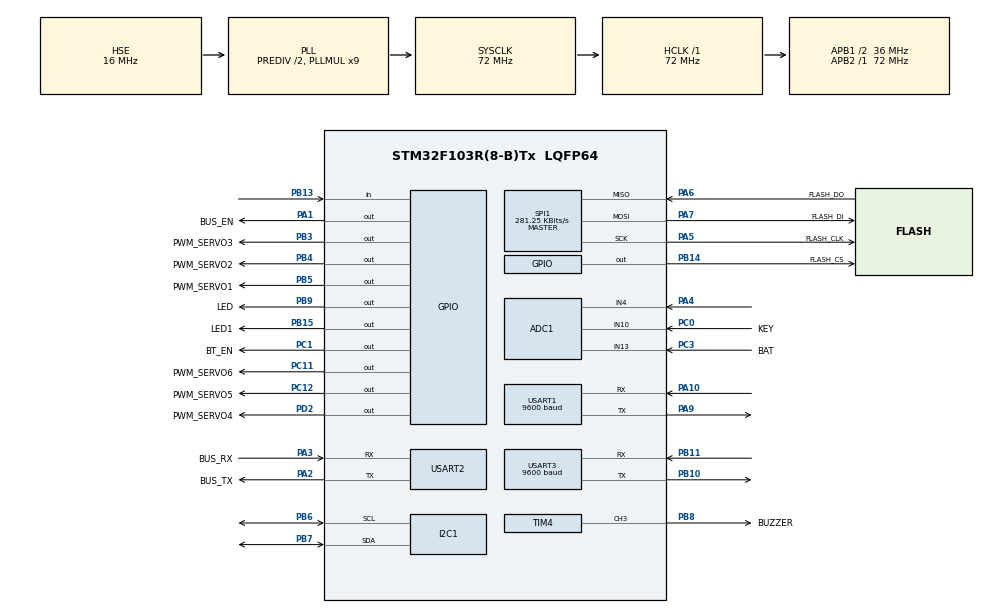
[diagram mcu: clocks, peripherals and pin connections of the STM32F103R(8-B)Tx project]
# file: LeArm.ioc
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ADC1.Channel-0\#ChannelRegularConversion=ADC_CHANNEL_13
ADC1.Channel-1\#ChannelRegularConversion=ADC_CHANNEL_10
ADC1.Channel-2\#ChannelRegularConversion=ADC_CHANNEL_4
ADC1.ContinuousConvMode=DISABLE
ADC1.DataAlign=ADC_DATAALIGN_RIGHT
ADC1.NbrOfConversion=3
ADC1.NbrOfConversionFlag=1
ADC1.Rank-0\#ChannelRegularConversion=1
ADC1.Rank-1\#ChannelRegularConversion=2
ADC1.Rank-2\#ChannelRegularConversion=3
ADC1.SamplingTime-0\#ChannelRegularConversion=ADC_SAMPLETIME_239CYCLES_5
ADC1.SamplingTime-1\#ChannelRegularConversion=ADC_SAMPLETIME_239CYCLES_5
ADC1.SamplingTime-2\#ChannelRegularConversion=ADC_SAMPLETIME_239CYCLES_5
ADC1.master=1
Dma.ADC1.1.Direction=DMA_PERIPH_TO_MEMORY
Dma.ADC1.1.Instance=DMA1_Channel1
Dma.ADC1.1.MemDataAlignment=DMA_MDATAALIGN_HALFWORD
Dma.ADC1.1.MemInc=DMA_MINC_ENABLE
Dma.ADC1.1.Mode=DMA_CIRCULAR
Dma.ADC1.1.PeriphDataAlignment=DMA_PDATAALIGN_HALFWORD
Dma.ADC1.1.PeriphInc=DMA_PINC_DISABLE
Dma.ADC1.1.Priority=DMA_PRIORITY_LOW
Dma.I2C1_RX.2.Direction=DMA_PERIPH_TO_MEMORY
Dma.I2C1_RX.2.Instance=DMA1_Channel7
Dma.I2C1_RX.2.MemDataAlignment=DMA_MDATAALIGN_BYTE
Dma.I2C1_RX.2.MemInc=DMA_MINC_ENABLE
Dma.I2C1_RX.2.Mode=DMA_NORMAL
Dma.I2C1_RX.2.PeriphDataAlignment=DMA_PDATAALIGN_BYTE
Dma.I2C1_RX.2.PeriphInc=DMA_PINC_DISABLE
Dma.I2C1_RX.2.Priority=DMA_PRIORITY_VERY_HIGH
Dma.Request0=USART1_RX
Dma.Request1=ADC1
Dma.Request2=I2C1_RX
Dma.Request3=USART3_RX
Dma.USART1_RX.0.Direction=DMA_PERIPH_TO_MEMORY
Dma.USART1_RX.0.Instance=DMA1_Channel5
Dma.USART1_RX.0.MemDataAlignment=DMA_MDATAALIGN_BYTE
Dma.USART1_RX.0.MemInc=DMA_MINC_ENABLE
Dma.USART1_RX.0.Mode=DMA_NORMAL
Dma.USART1_RX.0.PeriphDataAlignment=DMA_PDATAALIGN_BYTE
Dma.USART1_RX.0.PeriphInc=DMA_PINC_DISABLE
Dma.USART1_RX.0.Priority=DMA_PRIORITY_LOW
Dma.USART3_RX.3.Direction=DMA_PERIPH_TO_MEMORY
Dma.USART3_RX.3.Instance=DMA1_Channel3
Dma.USART3_RX.3.MemDataAlignment=DMA_MDATAALIGN_BYTE
Dma.USART3_RX.3.MemInc=DMA_MINC_ENABLE
Dma.USART3_RX.3.Mode=DMA_NORMAL
Dma.USART3_RX.3.PeriphDataAlignment=DMA_PDATAALIGN_BYTE
Dma.USART3_RX.3.PeriphInc=DMA_PINC_DISABLE
Dma.USART3_RX.3.Priority=DMA_PRIORITY_LOW
I2C1.I2C_Mode=I2C_Standard
Mcu.Family=STM32F1
Mcu.Name=STM32F103R(8-B)Tx
Mcu.Package=LQFP64
NVIC.DMA1_Channel1_IRQn=true\:0\:0\:false\:false\:true\:false\:true\:true
NVIC.DMA1_Channel3_IRQn=true\:0\:0\:false\:false\:true\:false\:true\:true
NVIC.DMA1_Channel5_IRQn=true\:0\:0\:false\:false\:true\:false\:true\:true
NVIC.DMA1_Channel7_IRQn=true\:0\:0\:false\:true\:true\:4\:false\:true\:true
NVIC.I2C1_EV_IRQn=true\:0\:0\:false\:true\:true\:5\:true\:true\:true
NVIC.PriorityGroup=NVIC_PRIORITYGROUP_4
NVIC.TIM3_IRQn=true\:0\:0\:true\:false\:true\:true\:false\:true
NVIC.USART1_IRQn=true\:3\:0\:true\:true\:true\:1\:true\:true\:true
NVIC.USART2_IRQn=true\:2\:0\:true\:true\:true\:2\:true\:false\:true
NVIC.USART3_IRQn=true\:1\:0\:true\:true\:true\:3\:true\:true\:true
PA1.GPIO_Label=BUS_EN
PA1.GPIO_Speed=GPIO_SPEED_FREQ_HIGH
PA1.PinState=GPIO_PIN_SET
PA1.Signal=GPIO_Output
PA10.Mode=Asynchronous
PA10.Signal=USART1_RX
PA13.Mode=Serial_Wire
PA13.Signal=SYS_JTMS-SWDIO
PA14.Mode=Serial_Wire
PA14.Signal=SYS_JTCK-SWCLK
PA2.GPIO_Label=BUS_TX
PA2.Mode=Asynchronous
PA2.Signal=USART2_TX
PA3.GPIO_Label=BUS_RX
PA3.Mode=Asynchronous
PA3.Signal=USART2_RX
PA4.Signal=ADCx_IN4
PA5.GPIO_Label=FLASH_CLK
PA5.GPIO_Speed=GPIO_SPEED_FREQ_HIGH
PA5.Mode=Full_Duplex_Master
PA5.Signal=SPI1_SCK
PA6.GPIO_Label=FLASH_DO
PA6.GPIO_PuPd=GPIO_NOPULL
PA6.Mode=Full_Duplex_Master
PA6.Signal=SPI1_MISO
PA7.GPIO_Label=FLASH_DI
PA7.GPIO_Speed=GPIO_SPEED_FREQ_HIGH
PA7.Mode=Full_Duplex_Master
PA7.Signal=SPI1_MOSI
PA9.Mode=Asynchronous
PA9.Signal=USART1_TX
PB10.Mode=Asynchronous
PB10.Signal=USART3_TX
PB11.Mode=Asynchronous
PB11.Signal=USART3_RX
PB13.Signal=GPIO_Input
PB14.GPIO_Label=FLASH_CS
PB14.GPIO_PuPd=GPIO_PULLUP
PB14.GPIO_Speed=GPIO_SPEED_FREQ_LOW
PB14.PinState=GPIO_PIN_SET
PB14.Signal=GPIO_Output
PB15.GPIO_Label=LED1
PB15.PinState=GPIO_PIN_SET
PB15.Signal=GPIO_Output
PB3.GPIO_Label=PWM_SERVO3
PB3.GPIO_Speed=GPIO_SPEED_FREQ_HIGH
PB3.Signal=GPIO_Output
PB4.GPIO_Label=PWM_SERVO2
PB4.GPIO_Speed=GPIO_SPEED_FREQ_HIGH
PB4.Signal=GPIO_Output
PB5.GPIO_Label=PWM_SERVO1
PB5.GPIO_Speed=GPIO_SPEED_FREQ_HIGH
PB5.Signal=GPIO_Output
PB6.Mode=I2C
PB6.Signal=I2C1_SCL
PB7.Mode=I2C
PB7.Signal=I2C1_SDA
PB8.GPIO_Label=BUZZER
PB8.Signal=S_TIM4_CH3
PB9.GPIO_Label=LED
PB9.GPIO_ModeDefaultOutputPP=GPIO_MODE_OUTPUT_PP
PB9.GPIO_PuPd=GPIO_PULLUP
PB9.PinState=GPIO_PIN_SET
PB9.Signal=GPIO_Output
PC0.GPIO_Label=KEY
PC0.Signal=ADCx_IN10
PC1.GPIO_Label=BT_EN
PC1.GPIO_ModeDefaultOutputPP=GPIO_MODE_OUTPUT_PP
PC1.GPIO_PuPd=GPIO_NOPULL
PC1.GPIO_Speed=GPIO_SPEED_FREQ_LOW
PC1.PinState=GPIO_PIN_SET
PC1.Signal=GPIO_Output
PC11.GPIO_Label=PWM_SERVO6
PC11.GPIO_Speed=GPIO_SPEED_FREQ_HIGH
PC11.Signal=GPIO_Output
PC12.GPIO_Label=PWM_SERVO5
PC12.GPIO_Speed=GPIO_SPEED_FREQ_HIGH
PC12.Signal=GPIO_Output
PC3.GPIO_Label=BAT
PC3.Signal=ADCx_IN13
PD0-OSC_IN.Mode=HSE-External-Oscillator
PD0-OSC_IN.Signal=RCC_OSC_IN
PD1-OSC_OUT.Mode=HSE-External-Oscillator
PD1-OSC_OUT.Signal=RCC_OSC_OUT
PD2.GPIO_Label=PWM_SERVO4
PD2.GPIO_Speed=GPIO_SPEED_FREQ_HIGH
PD2.Signal=GPIO_Output
ProjectManager.HeapSize=0x200
ProjectManager.StackSize=0x400
ProjectManager.TargetToolchain=MDK-ARM V5.32
RCC.ADCPresc=RCC_ADCPCLK2_DIV6
RCC.AHBFreq_Value=72000000
RCC.APB1CLKDivider=RCC_HCLK_DIV2
RCC.APB1Freq_Value=36000000
RCC.APB1TimFreq_Value=72000000
RCC.APB2Freq_Value=72000000
RCC.APB2TimFreq_Value=72000000
RCC.HCLKFreq_Value=72000000
RCC.HSEDivPLL=RCC_HSE_PREDIV_DIV2
RCC.HSE_VALUE=16000000
RCC.PLLMUL=RCC_PLL_MUL9
RCC.PLLSourceVirtual=RCC_PLLSOURCE_HSE
RCC.SYSCLKFreq_VALUE=72000000
RCC.SYSCLKSource=RCC_SYSCLKSOURCE_PLLCLK
RCC.USBFreq_Value=72000000
SH.ADCx_IN10.0=ADC1_IN10,IN10
SH.ADCx_IN13.0=ADC1_IN13,IN13
SH.ADCx_IN4.0=ADC1_IN4,IN4
SH.S_TIM4_CH3.0=TIM4_CH3,PWM Generation3 CH3
SPI1.BaudRatePrescaler=SPI_BAUDRATEPRESCALER_256
SPI1.CLKPhase=SPI_PHASE_1EDGE
SPI1.CLKPolarity=SPI_POLARITY_LOW
SPI1.CRCCalculation=SPI_CRCCALCULATION_DISABLE
SPI1.CalculateBaudRate=281.25 KBits/s
SPI1.Direction=SPI_DIRECTION_2LINES
SPI1.Mode=SPI_MODE_MASTER
SPI1.VirtualType=VM_MASTER
TIM3.AutoReloadPreload=TIM_AUTORELOAD_PRELOAD_ENABLE
TIM3.Channel-Output\ Compare1\ No\ Output=TIM_CHANNEL_1
TIM3.Channel-Output\ Compare2\ No\ Output=TIM_CHANNEL_2
TIM3.OC1Preload=DISABLE
TIM3.OCMode_1=TIM_OCMODE_TIMING
TIM3.Period=4999
TIM3.Prescaler=71
TIM3.Pulse-Output\ Compare1\ No\ Output=0
TIM4.AutoReloadPreload=TIM_AUTORELOAD_PRELOAD_ENABLE
TIM4.Channel-PWM\ Generation3\ CH3=TIM_CHANNEL_3
TIM4.Period=4999
TIM4.Prescaler=71
USART1.BaudRate=9600
USART1.VirtualMode=VM_ASYNC
USART2.VirtualMode=VM_ASYNC
USART3.BaudRate=9600
USART3.Mode=MODE_RX
USART3.VirtualMode=VM_ASYNC
VP_TIM3_VS_ClockSourceINT.Mode=Internal
VP_TIM3_VS_no_output1.Mode=Output Compare1 No Output
VP_TIM3_VS_no_output2.Mode=Output Compare2 No Output
board=custom

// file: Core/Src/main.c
/* USER CODE BEGIN Header */
/**
  ******************************************************************************
  * @file           : main.c
  * @brief          : Main program body
  ******************************************************************************
  * @attention
  *
  * Copyright (c) 2024 STMicroelectronics.
  * All rights reserved.
  *
  * in the root directory of this software component.
  * If no LICENSE file comes with this software, it is provided AS-IS.
  *
  ******************************************************************************
  */
/* USER CODE END Header */
#include "main.h"
#include "adc.h"
#include "dma.h"
#include "i2c.h"
#include "spi.h"
#include "tim.h"
#include "usart.h"
#include "gpio.h"

/* USER CODE BEGIN Includes */

#include "global.h"
#include "stdio.h"
#include "stdlib.h"
#include "led.h"
#include "buzzer.h"
#include "ultrasound.h"
#include "robot_arm.h"
#include "wonder_mv.h"

/* USER CODE END Includes */

/* USER CODE BEGIN PTD */
typedef enum
{
	SORT_STATE_DETECT = 0,
	SORT_STATE_TRACK_Y,
	SORT_STATE_TRACK_X,
	SORT_STATE_APPROACH,
	SORT_STATE_GRAB_DOWN,
	SORT_STATE_CLAW_CLOSE,
	SORT_STATE_LIFT,
	SORT_STATE_PLACE,
	SORT_STATE_RETURN
} SortStateTypeDef;

RecognitionHanleTypeDef color;
/* USER CODE END PTD */

/* USER CODE BEGIN PD */
#define ULTRASOUND_OFFSET 7.6f

/* ===================== Vision calibration TODOs =====================
 * K230 sends display pixel coordinates: x in [0, 320], y in [0, 240].
 * For eye-in-hand, the arm must move to a fixed capture pose first.
 *
 * Tune these values on the real arm:
 * 1. VISION_X_CM_PER_PIXEL / VISION_Y_CM_PER_PIXEL:
 *    Move a block by a known distance on the table and compare pixel change.
 *    If motion direction is reversed, make the value negative.
 * 2. CAMERA_TO_CLAW_*_OFFSET_CM:
 *    When the block is centered in the K230 image, measure how far the claw
 *    center is from the block center on the table.
 * 3. VISION_GRAB_Z_CM and claw angles:
 *    Tune until the claw closes around the 5 cm block without scraping.
 */
#define VISION_IMAGE_WIDTH             320.0f
#define VISION_IMAGE_HEIGHT            240.0f
#define VISION_CENTER_X                (VISION_IMAGE_WIDTH / 2.0f)
#define VISION_CENTER_Y                (VISION_IMAGE_HEIGHT / 2.0f)

#define VISION_CAPTURE_X_CM            15.0f//相机初始位置，一般不用改
#define VISION_CAPTURE_Y_CM             0.0f
#define VISION_CAPTURE_Z_CM            -3.0f

#define VISION_X_CM_PER_PIXEL           0.100f
#define VISION_Y_CM_PER_PIXEL          -0.050f
#define CAMERA_TO_CLAW_X_OFFSET_CM      0.0f
#define CAMERA_TO_CLAW_Y_OFFSET_CM      0.0f

#define VISION_APPROACH_Z_CM            2.0f
#define VISION_GRAB_Z_CM               -14.0f
#define VISION_TARGET_MIN_X_CM         10.0f
#define VISION_TARGET_MAX_X_CM         20.0f
#define VISION_TARGET_MIN_Y_CM        -10.0f
#define VISION_TARGET_MAX_Y_CM         10.0f

#define TRACK_CENTER_X                160.0f
#define TRACK_CENTER_Y                120.0f
#define TRACK_DEADBAND_X_PX             8.0f
#define TRACK_DEADBAND_Y_PX             8.0f
#define TRACK_STABLE_FRAMES             3
#define TRACK_LOST_MAX_FRAMES          10
#define TRACK_CORRECTION_GAIN           0.30f
#define TRACK_MAX_STEP_X_CM             0.5f
#define TRACK_MAX_STEP_Y_CM             0.5f

#define CLAW_OPEN_ANGLE                90.0f
#define CLAW_CLOSE_ANGLE                0.0f

#define PLACE_RED_X_CM                  5.0f
#define PLACE_RED_Y_CM                 12.0f
#define PLACE_GREEN_X_CM                5.0f
#define PLACE_GREEN_Y_CM              -12.0f
#define PLACE_BLUE_X_CM                20.0f
#define PLACE_BLUE_Y_CM                 0.0f
#define PLACE_YELLOW_X_CM              12.0f
#define PLACE_YELLOW_Y_CM              12.0f
#define PLACE_PURPLE_X_CM              12.0f
#define PLACE_PURPLE_Y_CM             -12.0f
#define PLACE_Z_CM                     -5.0f
/* USER CODE END PD */

/* USER CODE BEGIN PV */
SortStateTypeDef running_state = SORT_STATE_DETECT;
uint8_t tracked_color_id;
uint8_t stable_count;
uint8_t lost_count;
uint16_t tracking_step_count;
float target_x;
float target_y;
float grab_x;
float grab_y;

/* USER CODE END PV */

void SystemClock_Config(void);
static void MX_NVIC_Init(void);

/* USER CODE BEGIN 0 */
int fputc(int ch,FILE *f)
{
	/* 采用轮询方式发鿿1字节数据，超时时间设置为无限等待 */
	HAL_UART_Transmit(&huart1,(uint8_t *)&ch,1,HAL_MAX_DELAY);
	return ch;
}

static float clamp_float(float value, float min_value, float max_value)
{
	if (value < min_value)
	{
		return min_value;
	}
	if (value > max_value)
	{
		return max_value;
	}
	return value;
}

static uint8_t is_sortable_color(uint8_t color_id)
{
	return (color_id >= 1 && color_id <= 3);
}

static void reset_tracking_state(void)
{
	memset(&color, 0, sizeof(RecognitionHanleTypeDef));
	tracked_color_id = 0;
	stable_count = 0;
	lost_count = 0;
	tracking_step_count = 0;
	target_x = VISION_CAPTURE_X_CM;
	target_y = VISION_CAPTURE_Y_CM;
	grab_x = VISION_CAPTURE_X_CM;
	grab_y = VISION_CAPTURE_Y_CM;
}

static void move_to_capture_pose(uint32_t time_ms)
{
	robot_arm_coordinate_set(VISION_CAPTURE_X_CM, VISION_CAPTURE_Y_CM, VISION_CAPTURE_Z_CM, 0, -90, 90, time_ms);
}

static void update_grab_target(void)
{
	grab_x = clamp_float(target_x + CAMERA_TO_CLAW_X_OFFSET_CM, VISION_TARGET_MIN_X_CM, VISION_TARGET_MAX_X_CM);
	grab_y = clamp_float(target_y + CAMERA_TO_CLAW_Y_OFFSET_CM, VISION_TARGET_MIN_Y_CM, VISION_TARGET_MAX_Y_CM);
}

static void handle_tracking_loss(void)
{
	stable_count = 0;

	if(tracking_step_count > 0)
	{
		update_grab_target();
		running_state = SORT_STATE_APPROACH;
		return;
	}

	lost_count++;
	if(lost_count >= TRACK_LOST_MAX_FRAMES)
	{
		reset_tracking_state();
		move_to_capture_pose(500);
		HAL_Delay(600);
		running_state = SORT_STATE_DETECT;
	}
	else
	{
		HAL_Delay(20);
	}
}

static void move_to_color_place(uint8_t color_id)
{
	switch(color_id)
	{
		case 1:
			robot_arm_coordinate_set(PLACE_RED_X_CM, PLACE_RED_Y_CM, PLACE_Z_CM, 0, -90, 90, 1000);
			break;

		case 2:
			robot_arm_coordinate_set(PLACE_GREEN_X_CM, PLACE_GREEN_Y_CM, PLACE_Z_CM, 0, -90, 90, 1000);
			break;

		case 3:
			robot_arm_coordinate_set(PLACE_BLUE_X_CM, PLACE_BLUE_Y_CM, PLACE_Z_CM, 0, -90, 90, 1000);
			break;

		case 4:
			robot_arm_coordinate_set(PLACE_YELLOW_X_CM, PLACE_YELLOW_Y_CM, PLACE_Z_CM, 0, -90, 90, 1000);
			break;

		case 5:
			robot_arm_coordinate_set(PLACE_PURPLE_X_CM, PLACE_PURPLE_Y_CM, PLACE_Z_CM, 0, -90, 90, 1000);
			break;

		default:
			robot_arm_coordinate_set(VISION_CAPTURE_X_CM, VISION_CAPTURE_Y_CM, VISION_APPROACH_Z_CM, 0, -90, 90, 1000);
			break;
	}
}
/* USER CODE END 0 */

int main(void)
{

  /* MCU Configuration--------------------------------------------------------*/

  /* Reset of all peripherals, Initializes the Flash interface and the Systick. */
  HAL_Init();

  /* Configure the system clock */
  SystemClock_Config();

  /* USER CODE BEGIN SysInit */
  __HAL_RCC_I2C1_CLK_ENABLE();
  __HAL_RCC_DMA1_CLK_ENABLE();
  /* USER CODE END SysInit */

  /* Initialize all configured peripherals */
  MX_GPIO_Init();
  MX_DMA_Init();
  MX_TIM3_Init();
  MX_USART3_UART_Init();
  MX_SPI1_Init();
  MX_USART1_UART_Init();
  MX_ADC1_Init();
  MX_I2C1_Init();
  MX_TIM4_Init();
  MX_USART2_UART_Init();

  /* Initialize interrupts */
  MX_NVIC_Init();
  /* USER CODE BEGIN 2 */
  led_init();
  robot_arm_init();
  buzzer_init();
  ultrasound_init();
  wonder_mv_init();
  reset_tracking_state();
  move_to_capture_pose(500);
  robot_arm_claw_set(CLAW_OPEN_ANGLE, 0);
  /* USER CODE END 2 */

  /* Infinite loop */
  while (1)
  {

    /* USER CODE BEGIN 3 */
	switch(running_state)
	{
		case SORT_STATE_DETECT:
			if(wonder_mv_color_recognition(&color) && is_sortable_color(color.id))
			{
				HAL_Delay(100);
				wonder_mv_color_recognition(&color);
				if(is_sortable_color(color.id))
				{
					tracked_color_id = color.id;
					target_x = VISION_CAPTURE_X_CM;
					target_y = VISION_CAPTURE_Y_CM;
					stable_count = 0;
					lost_count = 0;
					tracking_step_count = 0;
					running_state = SORT_STATE_TRACK_Y;
					break;
				}
			}
			HAL_Delay(10);
			break;

		case SORT_STATE_TRACK_Y:
		{
			float pixel_dx;
			float step_y;

			if(!wonder_mv_color_recognition(&color) || color.id != tracked_color_id)
			{
				handle_tracking_loss();
				break;
			}

			lost_count = 0;
			pixel_dx = (float)color.position.x - TRACK_CENTER_X;

			if(pixel_dx >= -TRACK_DEADBAND_X_PX && pixel_dx <= TRACK_DEADBAND_X_PX)
			{
				stable_count++;
				if(stable_count >= TRACK_STABLE_FRAMES)
				{
					stable_count = 0;
					running_state = SORT_STATE_TRACK_X;
				}
				HAL_Delay(20);
				break;
			}

			stable_count = 0;
			step_y = pixel_dx * VISION_Y_CM_PER_PIXEL * TRACK_CORRECTION_GAIN;
			step_y = clamp_float(step_y, -TRACK_MAX_STEP_Y_CM, TRACK_MAX_STEP_Y_CM);
			target_y = clamp_float(target_y + step_y, VISION_TARGET_MIN_Y_CM, VISION_TARGET_MAX_Y_CM);
			robot_arm_coordinate_set(target_x, target_y, VISION_CAPTURE_Z_CM, 0, -90, 90, 80);
			if(tracking_step_count < 0xFFFFU)
			{
				tracking_step_count++;
			}
			HAL_Delay(90);
			break;
		}

		case SORT_STATE_TRACK_X:
		{
			float pixel_dy;
			float step_x;

			if(!wonder_mv_color_recognition(&color) || color.id != tracked_color_id)
			{
				handle_tracking_loss();
				break;
			}

			lost_count = 0;
			pixel_dy = (float)color.position.y - TRACK_CENTER_Y;

			if(pixel_dy >= -TRACK_DEADBAND_Y_PX && pixel_dy <= TRACK_DEADBAND_Y_PX)
			{
				stable_count++;
				if(stable_count >= TRACK_STABLE_FRAMES)
				{
					update_grab_target();
					running_state = SORT_STATE_APPROACH;
				}
				HAL_Delay(20);
				break;
			}

			stable_count = 0;
			step_x = pixel_dy * VISION_X_CM_PER_PIXEL * TRACK_CORRECTION_GAIN;
			step_x = clamp_float(step_x, -TRACK_MAX_STEP_X_CM, TRACK_MAX_STEP_X_CM);
			target_x = clamp_float(target_x + step_x, VISION_TARGET_MIN_X_CM, VISION_TARGET_MAX_X_CM);
			robot_arm_coordinate_set(target_x, target_y, VISION_CAPTURE_Z_CM, 0, -90, 90, 80);
			if(tracking_step_count < 0xFFFFU)
			{
				tracking_step_count++;
			}
			HAL_Delay(90);
			break;
		}

		case SORT_STATE_APPROACH:
			robot_arm_coordinate_set(grab_x, grab_y, VISION_APPROACH_Z_CM, 0, -90, 90, 1000);
			HAL_Delay(1100);
			running_state = SORT_STATE_GRAB_DOWN;
			break;

		case SORT_STATE_GRAB_DOWN:
			robot_arm_coordinate_set(grab_x, grab_y, VISION_GRAB_Z_CM, 0, -90, 90, 1000);
			HAL_Delay(1100);
			running_state = SORT_STATE_CLAW_CLOSE;
			break;

		case SORT_STATE_CLAW_CLOSE:
			robot_arm_claw_set(CLAW_CLOSE_ANGLE, 200);
			HAL_Delay(200);
			running_state = SORT_STATE_LIFT;
			break;

		case SORT_STATE_LIFT:
			robot_arm_coordinate_set(grab_x, grab_y, VISION_CAPTURE_Z_CM, 0, -90, 90, 1000);
			HAL_Delay(1100);
			running_state = SORT_STATE_PLACE;
			break;

		case SORT_STATE_PLACE:
			move_to_color_place(tracked_color_id);
			HAL_Delay(1100);
			running_state = SORT_STATE_RETURN;
			robot_arm_claw_set(CLAW_OPEN_ANGLE, 0);
			HAL_Delay(500);
			break;

		case SORT_STATE_RETURN:
			move_to_capture_pose(500);
			HAL_Delay(600);
			reset_tracking_state();
			running_state = SORT_STATE_DETECT;
			break;

		default:
			reset_tracking_state();
			move_to_capture_pose(500);
			HAL_Delay(600);
			running_state = SORT_STATE_DETECT;
			break;
	}
  }
  /* USER CODE END 3 */
}

void SystemClock_Config(void)
{
  RCC_OscInitTypeDef RCC_OscInitStruct = {0};
  RCC_ClkInitTypeDef RCC_ClkInitStruct = {0};
  RCC_PeriphCLKInitTypeDef PeriphClkInit = {0};

  /** Initializes the RCC Oscillators according to the specified parameters
  * in the RCC_OscInitTypeDef structure.
  */
  RCC_OscInitStruct.OscillatorType = RCC_OSCILLATORTYPE_HSE;
  RCC_OscInitStruct.HSEState = RCC_HSE_ON;
  RCC_OscInitStruct.HSEPredivValue = RCC_HSE_PREDIV_DIV2;
  RCC_OscInitStruct.HSIState = RCC_HSI_ON;
  RCC_OscInitStruct.PLL.PLLState = RCC_PLL_ON;
  RCC_OscInitStruct.PLL.PLLSource = RCC_PLLSOURCE_HSE;
  RCC_OscInitStruct.PLL.PLLMUL = RCC_PLL_MUL9;
  if (HAL_RCC_OscConfig(&RCC_OscInitStruct) != HAL_OK)
  {
    Error_Handler();
  }

  /** Initializes the CPU, AHB and APB buses clocks
  */
  RCC_ClkInitStruct.ClockType = RCC_CLOCKTYPE_HCLK|RCC_CLOCKTYPE_SYSCLK
                              |RCC_CLOCKTYPE_PCLK1|RCC_CLOCKTYPE_PCLK2;
  RCC_ClkInitStruct.SYSCLKSource = RCC_SYSCLKSOURCE_PLLCLK;
  RCC_ClkInitStruct.AHBCLKDivider = RCC_SYSCLK_DIV1;
  RCC_ClkInitStruct.APB1CLKDivider = RCC_HCLK_DIV2;
  RCC_ClkInitStruct.APB2CLKDivider = RCC_HCLK_DIV1;

  if (HAL_RCC_ClockConfig(&RCC_ClkInitStruct, FLASH_LATENCY_2) != HAL_OK)
  {
    Error_Handler();
  }
  PeriphClkInit.PeriphClockSelection = RCC_PERIPHCLK_ADC;
  PeriphClkInit.AdcClockSelection = RCC_ADCPCLK2_DIV6;
  if (HAL_RCCEx_PeriphCLKConfig(&PeriphClkInit) != HAL_OK)
  {
    Error_Handler();
  }
}

/**
  * @brief NVIC Configuration.
  * @retval None
  */
static void MX_NVIC_Init(void)
{
  /* USART1_IRQn interrupt configuration */
  HAL_NVIC_SetPriority(USART1_IRQn, 3, 0);
  HAL_NVIC_EnableIRQ(USART1_IRQn);
  /* USART2_IRQn interrupt configuration */
  HAL_NVIC_SetPriority(USART2_IRQn, 2, 0);
  HAL_NVIC_EnableIRQ(USART2_IRQn);
  /* USART3_IRQn interrupt configuration */
  HAL_NVIC_SetPriority(USART3_IRQn, 1, 0);
  HAL_NVIC_EnableIRQ(USART3_IRQn);
  /* DMA1_Channel7_IRQn interrupt configuration */
  HAL_NVIC_SetPriority(DMA1_Channel7_IRQn, 0, 0);
  HAL_NVIC_EnableIRQ(DMA1_Channel7_IRQn);
  /* I2C1_EV_IRQn interrupt configuration */
  HAL_NVIC_SetPriority(I2C1_EV_IRQn, 0, 0);
  HAL_NVIC_EnableIRQ(I2C1_EV_IRQn);
}

void Error_Handler(void)
{
  __disable_irq();
  while (1)
  {
  }
}
